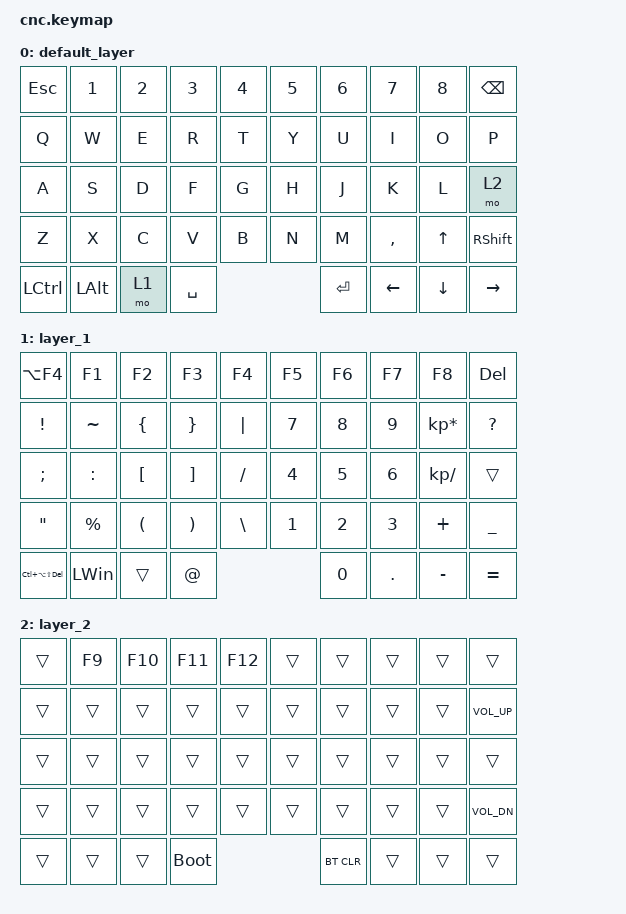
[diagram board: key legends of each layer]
/*
 * Copyright (c) 2020 The ZMK Contributors
 *
 * SPDX-License-Identifier: MIT
 */

#include <behaviors.dtsi>
#include <dt-bindings/zmk/keys.h>
#include <dt-bindings/zmk/bt.h>
#include <dt-bindings/zmk/outputs.h>
#include <dt-bindings/zmk/ext_power.h>
#include <dt-bindings/zmk/mouse.h>

/ {
    keymap0: keymap {
        compatible = "zmk,keymap";

        default_layer {
            bindings = <
            &kp ESC     &kp N1      &kp N2      &kp N3      &kp N4      &kp N5      &kp N6      &kp N7          &kp N8           &kp BSPC 
            &kp Q       &kp W       &kp E       &kp R       &kp T       &kp Y       &kp U       &kp I           &kp O            &kp P      
	    &kp A       &kp S       &kp D       &kp F       &kp G       &kp H       &kp J       &kp K           &kp L            &mo 2  
            &kp Z       &kp X       &kp C       &kp V       &kp B       &kp N       &kp M       &kp COMMA       &kp UP           &kp RIGHT_SHIFT    
            &kp LCTRL   &kp LALT    &mo 1       &kp SPACE                           &kp ENTER   &kp LEFT        &kp DOWN         &kp RIGHT
            >;
        };
        layer_1 {
            bindings = <
&kp LA(F4)              &kp F1       &kp F2                   &kp F3                   &kp F4         &kp F5          &kp F6           &kp F7            &kp F8              &kp DELETE
&kp EXCL                &kp TILDE    &kp LEFT_BRACE           &kp RIGHT_BRACE          &kp PIPE       &kp N7          &kp N8           &kp N9            &kp KP_MULTIPLY     &kp QUESTION
&kp SEMI                &kp COLON    &kp LEFT_BRACKET         &kp RIGHT_BRACKET        &kp FSLH       &kp N4          &kp N5           &kp N6            &kp KP_DIVIDE       &trans 
&kp DQT                 &kp PRCNT    &kp LEFT_PARENTHESIS     &kp RIGHT_PARENTHESIS    &kp BSLH       &kp N1          &kp N2           &kp N3            &kp PLUS            &kp UNDER
&kp LC(LA(LS(DELETE)))  &kp LWIN     &trans                   &kp AT                                                  &kp N0           &kp DOT           &kp MINUS           &kp EQUAL
            >;
        };
	layer_2 {
            bindings = <
&trans            &kp F9       &kp F10         &kp F11         &kp F12      &trans          &trans           &trans            &trans           &trans
&trans            &trans       &trans          &trans          &trans       &trans          &trans           &trans            &trans           &kp C_VOL_UP
&trans            &trans       &trans          &trans          &trans       &trans          &trans           &trans            &trans           &trans 
&trans            &trans       &trans          &trans          &trans       &trans          &trans           &trans            &trans           &kp C_VOL_DN
&trans            &trans       &trans          &bootloader                                  &bt BT_CLR       &trans            &trans           &trans
            >;
        };
    };
};
